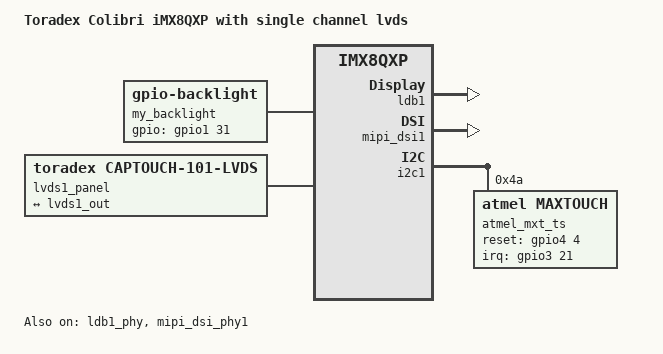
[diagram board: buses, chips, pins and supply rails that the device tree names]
/*
 * Copyright (C) 2018, Toradex AG
 *
 * This program is free software; you can redistribute it and/or
 * modify it under the terms of the GNU General Public License
 * as published by the Free Software Foundation; either version 2
 * of the License, or (at your option) any later version.
 *
 * This program is distributed in the hope that it will be useful,
 * but WITHOUT ANY WARRANTY; without even the implied warranty of
 * MERCHANTABILITY or FITNESS FOR A PARTICULAR PURPOSE.  See the
 * GNU General Public License for more details.
 */

/dts-v1/;
//#define IS_A0_SILICON

#include "fsl-imx8qxp-colibri-eval-v3.dtsi"

/ {
	model = "Toradex Colibri iMX8QXP with single channel lvds";
	compatible = "toradex,imx8qxp-colibri-lvds-single", "toradex,imx8qxp-colibri", "fsl,imx8qxp";

	my_backlight: backlight {
		compatible = "gpio-backlight";
		pinctrl-names = "default";
		pinctrl-0 = <&pinctrl_gpio_bklght_on>;
		gpios = <&gpio1 31 GPIO_ACTIVE_HIGH>; /* BKL1_ON */
		default-on;
	};

	lvds1_panel {
		compatible = "toradex,captouch-101-lvds";

		port {
			panel_lvds1_in: endpoint {
				remote-endpoint = <&lvds1_out>;
			};
		};
	};
};

&iomuxc {
	pinctrl-names = "default";
	imx8qxp-colibri {

		pinctrl_touch: touchgrp {
			fsl,pins = <
				SC_P_QSPI0B_DATA3_LSIO_GPIO3_IO21	0x06000040
				SC_P_USB_SS3_TC1_LSIO_GPIO4_IO04	0x06000040
			>;
		};

		pinctrl_gpio_bklght_on: gpio-bl-on {
			fsl,pins = <
				SC_P_MIPI_DSI1_GPIO0_00_LSIO_GPIO1_IO31		0x00000020
			>;
		};
	};
};

/* DSI/LVDS port 0 */
&i2c0_mipi_lvds0 {
	#address-cells = <1>;
	#size-cells = <0>;
	pinctrl-names = "default";
	pinctrl-0 = <&pinctrl_i2c0_mipi_lvds0>;
	clock-frequency = <100000>;
	status = "disabled";
};

&ldb1_phy {
	status = "okay";
};

&ldb1 {
	status = "okay";

	lvds-channel@0 {
		fsl,data-mapping = "spwg";
		fsl,data-width = <24>; /* Actually would need 18 but isn't supported by the driver */
		status = "okay";

		port@1 {
			reg = <1>;

			lvds1_out: endpoint {
				remote-endpoint = <&panel_lvds1_in>;
			};
		};
	};
};

&mipi_dsi_phy1 {
	status = "okay";
};

&mipi_dsi1 {
	pwr-delay = <10>;
	status = "okay";
};

&mipi_dsi_bridge1 {
	status = "disabled";
};

/* DSI/LVDS port 1 */
&i2c0_mipi_lvds1 {
	#address-cells = <1>;
	#size-cells = <0>;
	pinctrl-names = "default";
	pinctrl-0 = <&pinctrl_i2c0_mipi_csi>;
	clock-frequency = <100000>;
	status = "disabled";
};

&ldb2_phy {
	status = "disabled";
};

&ldb2 {
	status = "disabled";
};

&mipi_dsi_phy2 {
	status = "disabled";
};

&mipi_dsi2 {
	pwr-delay = <10>;
	status = "disabled";
};

&mipi_dsi_bridge2 {
	status = "disabled";
};

&i2c1 {
	atmel_mxt_ts: atmel_mxt_ts@4a {
		compatible = "atmel,maxtouch";
		pinctrl-names = "default";
		pinctrl-0 = <&pinctrl_touch>;
		reg = <0x4a>;
		interrupt-parent = <&gpio3>;
		interrupts = <21 IRQ_TYPE_EDGE_FALLING>;	/* SODIMM  98 */
		reset-gpios = <&gpio4 4 GPIO_ACTIVE_HIGH>;	/* SODIMM 133 */
		status = "okay";
	};
};
